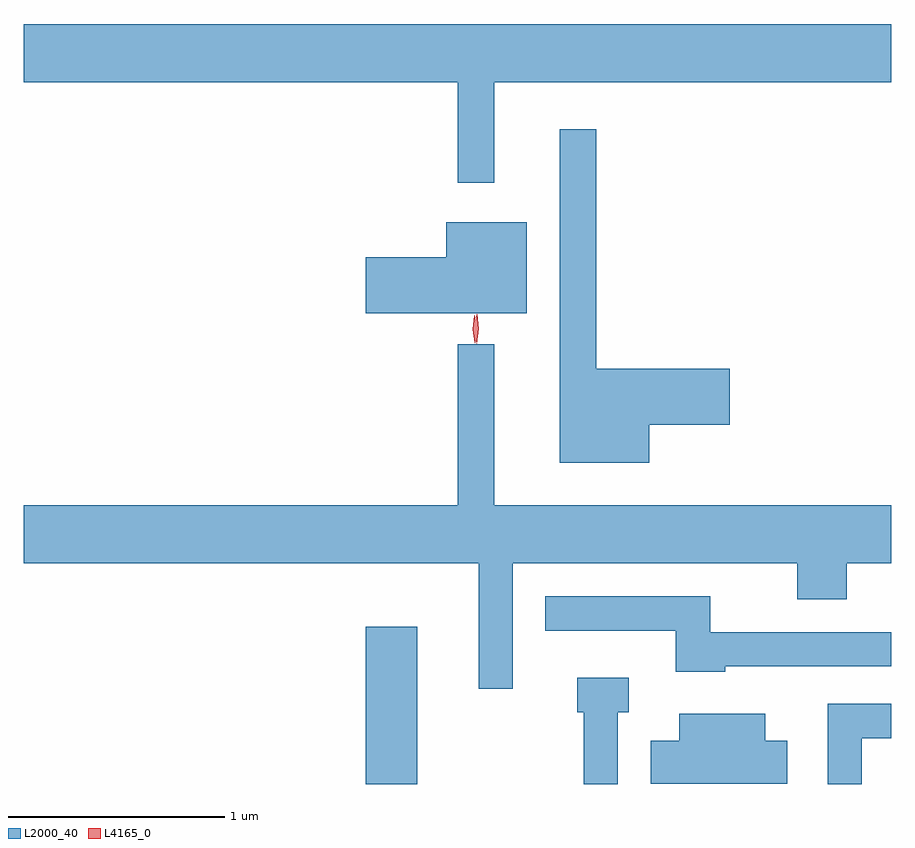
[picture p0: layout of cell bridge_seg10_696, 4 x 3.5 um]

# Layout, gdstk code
import gdstk
lib = gdstk.Library(unit=1e-6, precision=1e-09)
def R(c, l, rs):  # rectangles x0, y0, x1, y1
    for r in rs: c.add(gdstk.rectangle(r[:2], r[2:], *l))
def P(c, l, *ps):  # polygons
    for p in ps: c.add(gdstk.Polygon(p, *l))
L2000_40 = (2000, 40)
L4165_0 = (4165, 0)

bridge_seg10_696 = lib.new_cell('bridge_seg10_696')
R(bridge_seg10_696, L2000_40, [(906.826,2121.779,907.064,2122.504)])
P(bridge_seg10_696, L2000_40, [(907.419,2125.016),(909.249,2125.016),(909.249,2125.284),(905.249,2125.284),(905.249,2125.016),(907.251,2125.016),(907.251,2124.553),(907.419,2124.553)],
  [(908.134,2123.436),(908.504,2123.436),(908.504,2123.694),(907.889,2123.694),(907.889,2124.798),(907.721,2124.798),(907.721,2123.261),(908.134,2123.261)],
  [(907.569,2124.369),(907.196,2124.369),(907.196,2124.209),(906.826,2124.209),(906.826,2123.951),(907.569,2123.951)],
  [(907.504,2122.796),(908.816,2122.796),(908.816,2122.631),(909.044,2122.631),(909.044,2122.796),(909.249,2122.796),(909.249,2123.064),(907.419,2123.064),(907.419,2123.808),(907.251,2123.808),(907.251,2123.064),(905.249,2123.064),(905.249,2122.796),(907.346,2122.796),(907.346,2122.218),(907.504,2122.218)],
  [(908.484,2122.321),(909.249,2122.321),(909.249,2122.479),(908.414,2122.479),(908.414,2122.644),(907.653,2122.644),(907.653,2122.486),(908.256,2122.486),(908.256,2122.296),(908.484,2122.296)],
  [(907.989,2122.111),(908.038,2122.111),(908.038,2122.269),(907.801,2122.269),(907.801,2122.111),(907.831,2122.111),(907.831,2121.779),(907.989,2121.779)],
  [(909.114,2121.991),(909.249,2121.991),(909.249,2122.149),(908.956,2122.149),(908.956,2121.779),(909.114,2121.779)],
  [(908.769,2121.979),(908.669,2121.979),(908.669,2122.104),(908.271,2122.104),(908.271,2121.979),(908.141,2121.979),(908.141,2121.781),(908.769,2121.781)])
P(bridge_seg10_696, L4165_0, [(907.33,2123.813),(907.329,2123.814),(907.319,2123.876),(907.327,2123.939),(907.328,2123.94),(907.328,2123.939),(907.339,2123.876),(907.33,2123.814)],
  [(907.337,2123.81),(907.337,2123.81),(907.328,2123.878),(907.338,2123.946),(907.339,2123.946),(907.339,2123.946),(907.348,2123.878),(907.338,2123.81)])

lib.write_gds('bridge_seg10_696.gds')
